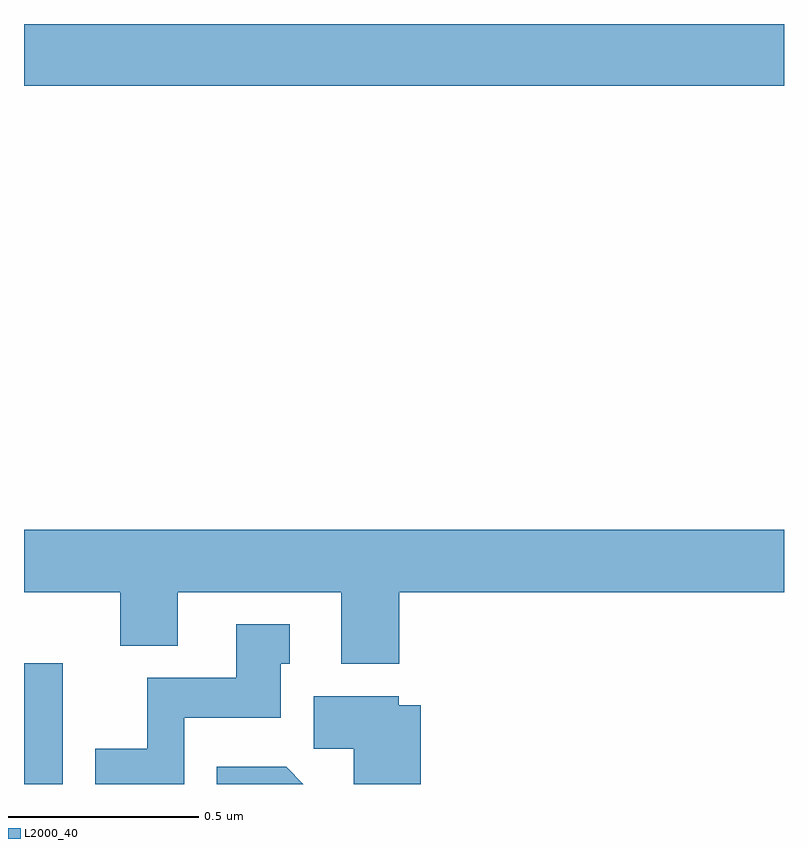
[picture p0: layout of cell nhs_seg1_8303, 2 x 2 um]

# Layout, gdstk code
import gdstk
lib = gdstk.Library(unit=1e-6, precision=1e-09)
def R(c, l, rs):  # rectangles x0, y0, x1, y1
    for r in rs: c.add(gdstk.rectangle(r[:2], r[2:], *l))
def P(c, l, *ps):  # polygons
    for p in ps: c.add(gdstk.Polygon(p, *l))
L2000_40 = (2000, 40)

nhs_seg1_8303 = lib.new_cell('nhs_seg1_8303')
R(nhs_seg1_8303, L2000_40, [(214,579.199,214.102,579.517), (214,581.036,216,581.199)])
P(nhs_seg1_8303, L2000_40, [(214.988,579.704),(216,579.704),(216,579.868),(214,579.868),(214,579.704),(214.253,579.704),(214.253,579.563),(214.405,579.563),(214.405,579.704),(214.835,579.704),(214.835,579.515),(214.988,579.515)],
  [(214.422,579.374),(214.675,579.374),(214.675,579.516),(214.699,579.516),(214.699,579.619),(214.559,579.619),(214.559,579.478),(214.324,579.478),(214.324,579.292),(214.187,579.292),(214.187,579.199),(214.422,579.199)],
  [(215.044,579.406),(214.986,579.406),(214.986,579.43),(214.763,579.43),(214.763,579.292),(214.868,579.292),(214.868,579.199),(215.044,579.199)],
  [(214.69,579.244),(214.507,579.244),(214.507,579.199),(214.735,579.199)])

lib.write_gds('nhs_seg1_8303.gds')
